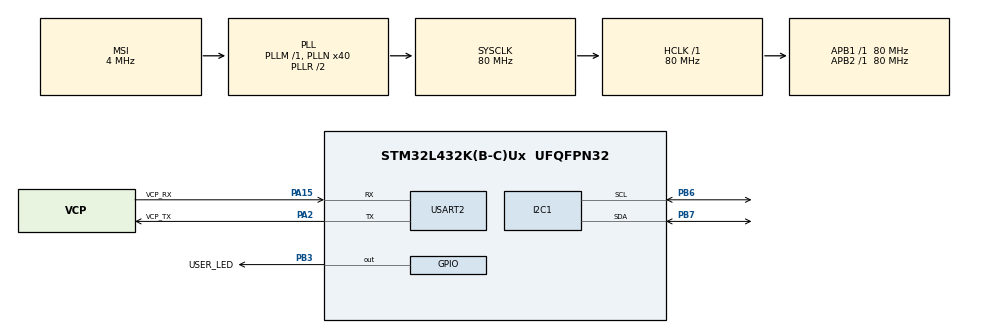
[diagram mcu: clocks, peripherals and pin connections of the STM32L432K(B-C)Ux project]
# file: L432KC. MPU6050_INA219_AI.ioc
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I2C1.Timing=0x10D19CE4
Mcu.Family=STM32L4
Mcu.Name=STM32L432K(B-C)Ux
Mcu.Package=UFQFPN32
NVIC.PriorityGroup=NVIC_PRIORITYGROUP_4
PA0.GPIO_Label=MCO [High speed clock in]
PA0.Mode=HSE-External-Clock-Source-for-LittleOrca
PA0.Signal=RCC_CK_IN
PA13\ (JTMS-SWDIO).GPIO_Label=SWDIO
PA13\ (JTMS-SWDIO).Mode=Serial_Wire
PA13\ (JTMS-SWDIO).Signal=SYS_JTMS-SWDIO
PA14\ (JTCK-SWCLK).GPIO_Label=SWCLK
PA14\ (JTCK-SWCLK).Mode=Serial_Wire
PA14\ (JTCK-SWCLK).Signal=SYS_JTCK-SWCLK
PA15\ (JTDI).GPIO_Label=VCP_RX
PA15\ (JTDI).Mode=Asynchronous
PA15\ (JTDI).Signal=USART2_RX
PA2.GPIO_Label=VCP_TX
PA2.Mode=Asynchronous
PA2.Signal=USART2_TX
PB3\ (JTDO-TRACESWO).GPIO_Label=USER_LED
PB3\ (JTDO-TRACESWO).Signal=GPIO_Output
PB6.Mode=I2C
PB6.Signal=I2C1_SCL
PB7.Mode=I2C
PB7.Signal=I2C1_SDA
PC14-OSC32_IN\ (PC14).Mode=LSE-External-Oscillator
PC14-OSC32_IN\ (PC14).Signal=RCC_OSC32_IN
PC15-OSC32_OUT\ (PC15).Mode=LSE-External-Oscillator
PC15-OSC32_OUT\ (PC15).Signal=RCC_OSC32_OUT
ProjectManager.HeapSize=0x800
ProjectManager.StackSize=0x800
ProjectManager.TargetToolchain=STM32CubeIDE
RCC.AHBFreq_Value=80000000
RCC.APB1Freq_Value=80000000
RCC.APB1TimFreq_Value=80000000
RCC.APB2Freq_Value=80000000
RCC.APB2TimFreq_Value=80000000
RCC.CortexFreq_Value=80000000
RCC.HCLKFreq_Value=80000000
RCC.HSE_VALUE=8000000
RCC.HSI16_VALUE=16000000
RCC.HSI48_VALUE=48000000
RCC.HSI_VALUE=16000000
RCC.MSI_VALUE=4000000
RCC.PLLMUL=RCC_PLLMUL_4
RCC.PLLN=40
RCC.SYSCLKFreq_VALUE=80000000
RCC.SYSCLKSource=RCC_SYSCLKSOURCE_PLLCLK
RCC.VCOOutputFreq_Value=160000000
STMicroelectronics.X-CUBE-AI.10.2.0.ActivationBufferSizeList=2864
STMicroelectronics.X-CUBE-AI.10.2.0.ActivationBuffers=pool0
STMicroelectronics.X-CUBE-AI.10.2.0.ActivationNames=pool0
STMicroelectronics.X-CUBE-AI.10.2.0.ActivationSizes=AI_NETWORK_DATA_ACTIVATION_1_SIZE
STMicroelectronics.X-CUBE-AI.10.2.0.ApplicationCcDeviceJjApplication=ApplicationTemplate
STMicroelectronics.X-CUBE-AI.10.2.0.HeapSize=0x800
STMicroelectronics.X-CUBE-AI.10.2.0.InternalRamActivationBufferMaxSize=AI_NETWORK_DATA_ACTIVATIONS_SIZE
STMicroelectronics.X-CUBE-AI.10.2.0.LatestDirectoryUsed-8948988cd483a5e510699c6f2f5c29ddb332c8d1e6b1ee858876a3a81a83fe3c=C\:\\Users\\MSP\\pwm_control
STMicroelectronics.X-CUBE-AI.10.2.0.MaximumNumberOfInputLayer=1
STMicroelectronics.X-CUBE-AI.10.2.0.MaximumNumberOfOutputLayer=1
STMicroelectronics.X-CUBE-AI.10.2.0.MaximumSizeOfInputLayer=1
STMicroelectronics.X-CUBE-AI.10.2.0.MaximumSizeOfOutputLayer=1
STMicroelectronics.X-CUBE-AI.10.2.0.ModelActualCompression-8948988cd483a5e510699c6f2f5c29ddb332c8d1e6b1ee858876a3a81a83fe3c=0.0
STMicroelectronics.X-CUBE-AI.10.2.0.ModelCompression-8948988cd483a5e510699c6f2f5c29ddb332c8d1e6b1ee858876a3a81a83fe3c=None
STMicroelectronics.X-CUBE-AI.10.2.0.ModelFlashOccupation-8948988cd483a5e510699c6f2f5c29ddb332c8d1e6b1ee858876a3a81a83fe3c=27068
STMicroelectronics.X-CUBE-AI.10.2.0.ModelHashList=8948988cd483a5e510699c6f2f5c29ddb332c8d1e6b1ee858876a3a81a83fe3c
STMicroelectronics.X-CUBE-AI.10.2.0.ModelKind-8948988cd483a5e510699c6f2f5c29ddb332c8d1e6b1ee858876a3a81a83fe3c=TFLITE
STMicroelectronics.X-CUBE-AI.10.2.0.ModelMacc-8948988cd483a5e510699c6f2f5c29ddb332c8d1e6b1ee858876a3a81a83fe3c=4155
STMicroelectronics.X-CUBE-AI.10.2.0.ModelName-8948988cd483a5e510699c6f2f5c29ddb332c8d1e6b1ee858876a3a81a83fe3c=network
STMicroelectronics.X-CUBE-AI.10.2.0.ModelNameList=network
STMicroelectronics.X-CUBE-AI.10.2.0.ModelRamOccupation-8948988cd483a5e510699c6f2f5c29ddb332c8d1e6b1ee858876a3a81a83fe3c=2864
STMicroelectronics.X-CUBE-AI.10.2.0.ModelStructureFile-8948988cd483a5e510699c6f2f5c29ddb332c8d1e6b1ee858876a3a81a83fe3c=C\:\\Users\\MSP\\pwm_control\\motor_anomaly.tflite
STMicroelectronics.X-CUBE-AI.10.2.0.ModelType-8948988cd483a5e510699c6f2f5c29ddb332c8d1e6b1ee858876a3a81a83fe3c=STM32Cube.AI MCU runtime
STMicroelectronics.X-CUBE-AI.10.2.0.ReadyForCodeGeneration=true
STMicroelectronics.X-CUBE-AI.10.2.0.StackSize=0x800
STMicroelectronics.X-CUBE-AI.10.2.0.WorkingBufferStartAddrList=0xFFFFFFFF
STMicroelectronics.X-CUBE-AI.10.2.0.XAaCUBEAaAICcArtificialOoIntelligenceJjCore=true
STMicroelectronics.X-CUBE-AI.10.2.0.copyWeightToRam=false
STMicroelectronics.X-CUBE-AI.10.2.0.customLayerConfigEnabled=false
STMicroelectronics.X-CUBE-AI.10.2.0.noOnnxIoTranspose=false
STMicroelectronics.X-CUBE-AI.10.2.0.useInputAllocation=true
STMicroelectronics.X-CUBE-AI.10.2.0.useOutputAllocation=true
USART2.VirtualMode-Asynchronous=VM_ASYNC
VP_STMicroelectronics.X-CUBE-AI_VS_ArtificialOoIntelligenceJjXAaCUBEAaAI_10.2.0.Mode=ArtificialOoIntelligenceJjXAaCUBEAaAI
VP_STMicroelectronics.X-CUBE-AI_VS_DeviceJjApplication_10.2.0.Mode=DeviceJjApplication
board=NUCLEO-L432KC

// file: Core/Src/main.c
/* USER CODE BEGIN Header */
/**
  ******************************************************************************
  * @file           : main.c
  * @brief          : Main program body
  ******************************************************************************
  * @attention
  *
  * Copyright (c) 2026 STMicroelectronics.
  * All rights reserved.
  *
  * This software is licensed under terms that can be found in the LICENSE file
  * in the root directory of this software component.
  * If no LICENSE file comes with this software, it is provided AS-IS.
  *
  ******************************************************************************
  */
/* USER CODE END Header */
#include "main.h"
#include "app_x-cube-ai.h"

/* USER CODE BEGIN Includes */
#include <stdio.h>
#include <string.h>
#include <math.h>
#include "mpu6050.h"
#include "ina219.h"
#include "app_x-cube-ai.h"
#include "network.h"
#include "network_data.h"

/* USER CODE END Includes */

/* USER CODE BEGIN PD */
#define MODE_COLLECT  0
#define MODE_INFER    1
#define CURRENT_MODE  MODE_COLLECT  // ← 수집할때: MODE_COLLECT / 추론할때: MODE_INFER
/* USER CODE END PD */

I2C_HandleTypeDef hi2c1;

UART_HandleTypeDef huart2;

/* USER CODE BEGIN PV */
MPU6050_t MPU6050_Data;
INA219_t  INA219_Data;

// ── 윈도우 버퍼 ──
#define WINDOW_SIZE  50
#define FEATURE_NUM  21

typedef struct {
    float ax, ay, az;
    float gx, gy, gz;
    float current, voltage, power;
} SensorSample;

SensorSample window_buf[WINDOW_SIZE];
uint16_t window_idx = 0;

// ── Scaler 값 (Python에서 추출) ──
const float SCALER_MEAN[FEATURE_NUM] = {
    2005.842149f, 1065.240787f, 214.114126f,
    11577.090909f, 5699.581818f, 7027.472727f,
    1285.567402f, 21359.667551f,
    200.124709f, 436.414016f, 201.440447f,
    998.200000f, 2458.363636f, 1171.750000f,
    0.169205f, 0.023431f, 0.070600f,
    6.623082f, 0.085506f, 1.121541f, 0.260091f
};

const float SCALER_STD[FEATURE_NUM] = {
    482.364637f, 162.312108f, 214.114126f,
    4186.752281f, 1462.477962f, 1739.716323f,
    221.864917f, 198.976645f,
    26.586816f, 93.917616f, 64.067405f,
    231.108330f, 796.234539f, 547.087617f,
    0.006212f, 0.001946f, 0.005502f,
    0.162638f, 0.002384f, 0.023446f, 0.128041f
};

float g_features[FEATURE_NUM];
float g_output = 0.0f;

/* USER CODE END PV */

void SystemClock_Config(void);
static void MX_GPIO_Init(void);
static void MX_USART2_UART_Init(void);
static void MX_I2C1_Init(void);

/* USER CODE BEGIN 0 */

#include <stdio.h>

int _write(int file, char *ptr, int len)
{
	HAL_UART_Transmit(&huart2, (uint8_t*)ptr, len, HAL_MAX_DELAY);
	return len;
}

// ── Feature 추출 ──
void extract_features(SensorSample *buf, float *features) {
    float ax[WINDOW_SIZE], ay[WINDOW_SIZE], az[WINDOW_SIZE];
    float gx[WINDOW_SIZE], gy[WINDOW_SIZE], gz[WINDOW_SIZE];
    float cur[WINDOW_SIZE], vol[WINDOW_SIZE], pwr[WINDOW_SIZE];
    float mag[WINDOW_SIZE];

    float ax_sum=0, ay_sum=0, az_sum=0;
    float gx_sum=0, gy_sum=0, gz_sum=0;
    float cur_sum=0, vol_sum=0, pwr_sum=0;
    float mag_sum=0;

    float ax_min=1e9f, ax_max=-1e9f;
    float ay_min=1e9f, ay_max=-1e9f;
    float az_min=1e9f, az_max=-1e9f;
    float gx_min=1e9f, gx_max=-1e9f;
    float gy_min=1e9f, gy_max=-1e9f;
    float gz_min=1e9f, gz_max=-1e9f;
    float cur_min=1e9f, cur_max=-1e9f;

    uint16_t cur_over = 0;

    for(int i = 0; i < WINDOW_SIZE; i++) {
        ax[i] = buf[i].ax; ay[i] = buf[i].ay; az[i] = buf[i].az;
        gx[i] = buf[i].gx; gy[i] = buf[i].gy; gz[i] = buf[i].gz;
        cur[i] = buf[i].current; vol[i] = buf[i].voltage; pwr[i] = buf[i].power;
        mag[i] = sqrtf(ax[i]*ax[i] + ay[i]*ay[i] + az[i]*az[i]);

        ax_sum += ax[i]; ay_sum += ay[i]; az_sum += az[i];
        gx_sum += gx[i]; gy_sum += gy[i]; gz_sum += gz[i];
        cur_sum += cur[i]; vol_sum += vol[i]; pwr_sum += pwr[i];
        mag_sum += mag[i];

        if(ax[i] < ax_min) ax_min = ax[i]; if(ax[i] > ax_max) ax_max = ax[i];
        if(ay[i] < ay_min) ay_min = ay[i]; if(ay[i] > ay_max) ay_max = ay[i];
        if(az[i] < az_min) az_min = az[i]; if(az[i] > az_max) az_max = az[i];
        if(gx[i] < gx_min) gx_min = gx[i]; if(gx[i] > gx_max) gx_max = gx[i];
        if(gy[i] < gy_min) gy_min = gy[i]; if(gy[i] > gy_max) gy_max = gy[i];
        if(gz[i] < gz_min) gz_min = gz[i]; if(gz[i] > gz_max) gz_max = gz[i];
        if(cur[i] < cur_min) cur_min = cur[i]; if(cur[i] > cur_max) cur_max = cur[i];

        if(cur[i] >= 0.19f) cur_over++;
    }

    float n = (float)WINDOW_SIZE;

    // STD 계산
    float ax_std=0, ay_std=0, az_std=0;
    float gx_std=0, gy_std=0, gz_std=0;
    float cur_std=0, vol_std=0, mag_std=0;

    float ax_m=ax_sum/n, ay_m=ay_sum/n, az_m=az_sum/n;
    float gx_m=gx_sum/n, gy_m=gy_sum/n, gz_m=gz_sum/n;
    float cur_m=cur_sum/n, vol_m=vol_sum/n;
    float mag_m=mag_sum/n;

    for(int i = 0; i < WINDOW_SIZE; i++) {
        ax_std  += (ax[i]-ax_m)*(ax[i]-ax_m);
        ay_std  += (ay[i]-ay_m)*(ay[i]-ay_m);
        az_std  += (az[i]-az_m)*(az[i]-az_m);
        gx_std  += (gx[i]-gx_m)*(gx[i]-gx_m);
        gy_std  += (gy[i]-gy_m)*(gy[i]-gy_m);
        gz_std  += (gz[i]-gz_m)*(gz[i]-gz_m);
        cur_std += (cur[i]-cur_m)*(cur[i]-cur_m);
        vol_std += (vol[i]-vol_m)*(vol[i]-vol_m);
        mag_std += (mag[i]-mag_m)*(mag[i]-mag_m);
    }

    ax_std  = sqrtf(ax_std/n);  ay_std  = sqrtf(ay_std/n);
    az_std  = sqrtf(az_std/n);  gx_std  = sqrtf(gx_std/n);
    gy_std  = sqrtf(gy_std/n);  gz_std  = sqrtf(gz_std/n);
    cur_std = sqrtf(cur_std/n); vol_std = sqrtf(vol_std/n);
    mag_std = sqrtf(mag_std/n);

    // Feature 배열 (Python 순서와 동일!)
    features[0]  = ax_std;
    features[1]  = ay_std;
    features[2]  = az_std;
    features[3]  = ax_max - ax_min;   // ax_p2p
    features[4]  = ay_max - ay_min;   // ay_p2p
    features[5]  = az_max - az_min;   // az_p2p
    features[6]  = mag_std;
    features[7]  = mag_m;
    features[8]  = gx_std;
    features[9]  = gy_std;
    features[10] = gz_std;
    features[11] = gx_max - gx_min;   // gx_p2p
    features[12] = gy_max - gy_min;   // gy_p2p
    features[13] = gz_max - gz_min;   // gz_p2p
    features[14] = cur_m;
    features[15] = cur_std;
    features[16] = cur_max - cur_min; // current_p2p
    features[17] = vol_m;
    features[18] = vol_std;
    features[19] = pwr_sum / n;       // power_mean
    features[20] = (float)cur_over / n; // current_over_019
}

// ── 정규화 ──
void normalize(float *features) {
    for(int i = 0; i < FEATURE_NUM; i++) {
        features[i] = (features[i] - SCALER_MEAN[i]) / SCALER_STD[i];
    }
}
/* USER CODE END 0 */

int main(void)
{

  /* MCU Configuration--------------------------------------------------------*/

  /* Reset of all peripherals, Initializes the Flash interface and the Systick. */
  HAL_Init();

  /* Configure the system clock */
  SystemClock_Config();

  /* Initialize all configured peripherals */
  MX_GPIO_Init();
  MX_USART2_UART_Init();
  MX_I2C1_Init();
  MX_X_CUBE_AI_Init();
  /* USER CODE BEGIN 2 */

  printf("=== Motor Anomaly Detection ===\r\n");

  if(MPU6050_Init(&hi2c1)) printf("MPU6050: OK\r\n");
  if(INA219_Init(&hi2c1))  printf("INA219:  OK\r\n");

#if CURRENT_MODE == MODE_COLLECT
  printf("Mode: DATA COLLECT\r\n");
  printf("time_s,ax,ay,az,gx,gy,gz,current,voltage,power\r\n");  // CSV 헤더!
#else
  printf("Mode: AI INFER\r\n");
  printf("AI Model: OK\r\n");
#endif

//  printf("=== Motor Monitoring System ===\r\n");
//
//  if(MPU6050_Init(&hi2c1)) printf("MPU6050: OK\r\n");
//  if(INA219_Init(&hi2c1))  printf("INA219:  OK\r\n");
//
//  printf("ax,ay,az,gx,gy,gz,current,voltage,power\r\n");

//  HAL_GPIO_WritePin(GPIOB, GPIO_PIN_3, GPIO_PIN_SET);
//
//  printf("STM32 L432KC Started!\r\n");

//  printf("\r\n=== L432KC + MPU6050 Test ===\r\n");
//
//  // MPU6050 초기화
//  if(MPU6050_Init(&hi2c1)) {
//      printf("MPU6050 Ready!\r\n\r\n");
//  } else {
//      printf("MPU6050 Init Failed!\r\n");
//      Error_Handler();
//  }

  /* USER CODE END 2 */

  /* Infinite loop */
  while (1)
  {

	  /* USER CODE BEGIN 3 */

	  MPU6050_Read_All(&hi2c1, &MPU6050_Data);
	  INA219_Read_All(&hi2c1, &INA219_Data);

#if CURRENT_MODE == MODE_COLLECT
	  printf("%.3f,%d,%d,%d,%d,%d,%d,%.3f,%.2f,%.2f\r\n",
			  HAL_GetTick() / 1000.0f,
			  MPU6050_Data.Accel_X_RAW,
			  MPU6050_Data.Accel_Y_RAW,
			  MPU6050_Data.Accel_Z_RAW,
			  MPU6050_Data.Gyro_X_RAW,
			  MPU6050_Data.Gyro_Y_RAW,
			  MPU6050_Data.Gyro_Z_RAW,
			  INA219_Data.current,
			  INA219_Data.voltage,
			  INA219_Data.power);

#else
	  window_buf[window_idx % WINDOW_SIZE].ax      = (float)MPU6050_Data.Accel_X_RAW;
	  window_buf[window_idx % WINDOW_SIZE].ay      = (float)MPU6050_Data.Accel_Y_RAW;
	  window_buf[window_idx % WINDOW_SIZE].az      = (float)MPU6050_Data.Accel_Z_RAW;
	  window_buf[window_idx % WINDOW_SIZE].gx      = (float)MPU6050_Data.Gyro_X_RAW;
	  window_buf[window_idx % WINDOW_SIZE].gy      = (float)MPU6050_Data.Gyro_Y_RAW;
	  window_buf[window_idx % WINDOW_SIZE].gz      = (float)MPU6050_Data.Gyro_Z_RAW;
	  window_buf[window_idx % WINDOW_SIZE].current = INA219_Data.current;
	  window_buf[window_idx % WINDOW_SIZE].voltage = INA219_Data.voltage;
	  window_buf[window_idx % WINDOW_SIZE].power   = INA219_Data.power;
	  window_idx++;

	  if(window_idx >= WINDOW_SIZE && window_idx % 10 == 0) {
		  extract_features(window_buf, g_features);
		  normalize(g_features);
		  MX_X_CUBE_AI_Process();

		  static uint8_t defect_count = 0;
		  static uint8_t vote_total   = 0;
		  vote_total++;
		  if(g_output > 0.5f) defect_count++;
		  printf("[%d/%d] score: %.4f\r\n", defect_count, vote_total, g_output);
		  if(vote_total >= 5) {
			  if(defect_count >= 3)
				  printf("=== [DEFECT DETECTED] %d/5 ===\r\n", defect_count);
			  else
				  printf("=== [NORMAL] %d/5 ===\r\n", defect_count);
			  defect_count = 0;
			  vote_total   = 0;
		  }
	  }
#endif

	  HAL_Delay(100);
  }

  /* USER CODE END 3 */
}

void SystemClock_Config(void)
{
  RCC_OscInitTypeDef RCC_OscInitStruct = {0};
  RCC_ClkInitTypeDef RCC_ClkInitStruct = {0};

  /** Configure the main internal regulator output voltage
  */
  if (HAL_PWREx_ControlVoltageScaling(PWR_REGULATOR_VOLTAGE_SCALE1) != HAL_OK)
  {
    Error_Handler();
  }

  /** Configure LSE Drive Capability
  */
  HAL_PWR_EnableBkUpAccess();
  __HAL_RCC_LSEDRIVE_CONFIG(RCC_LSEDRIVE_LOW);

  /** Initializes the RCC Oscillators according to the specified parameters
  * in the RCC_OscInitTypeDef structure.
  */
  RCC_OscInitStruct.OscillatorType = RCC_OSCILLATORTYPE_LSE|RCC_OSCILLATORTYPE_MSI;
  RCC_OscInitStruct.LSEState = RCC_LSE_ON;
  RCC_OscInitStruct.MSIState = RCC_MSI_ON;
  RCC_OscInitStruct.MSICalibrationValue = 0;
  RCC_OscInitStruct.MSIClockRange = RCC_MSIRANGE_6;
  RCC_OscInitStruct.PLL.PLLState = RCC_PLL_ON;
  RCC_OscInitStruct.PLL.PLLSource = RCC_PLLSOURCE_MSI;
  RCC_OscInitStruct.PLL.PLLM = 1;
  RCC_OscInitStruct.PLL.PLLN = 40;
  RCC_OscInitStruct.PLL.PLLP = RCC_PLLP_DIV7;
  RCC_OscInitStruct.PLL.PLLQ = RCC_PLLQ_DIV2;
  RCC_OscInitStruct.PLL.PLLR = RCC_PLLR_DIV2;
  if (HAL_RCC_OscConfig(&RCC_OscInitStruct) != HAL_OK)
  {
    Error_Handler();
  }

  /** Initializes the CPU, AHB and APB buses clocks
  */
  RCC_ClkInitStruct.ClockType = RCC_CLOCKTYPE_HCLK|RCC_CLOCKTYPE_SYSCLK
                              |RCC_CLOCKTYPE_PCLK1|RCC_CLOCKTYPE_PCLK2;
  RCC_ClkInitStruct.SYSCLKSource = RCC_SYSCLKSOURCE_PLLCLK;
  RCC_ClkInitStruct.AHBCLKDivider = RCC_SYSCLK_DIV1;
  RCC_ClkInitStruct.APB1CLKDivider = RCC_HCLK_DIV1;
  RCC_ClkInitStruct.APB2CLKDivider = RCC_HCLK_DIV1;

  if (HAL_RCC_ClockConfig(&RCC_ClkInitStruct, FLASH_LATENCY_4) != HAL_OK)
  {
    Error_Handler();
  }

  /** Enable MSI Auto calibration
  */
  HAL_RCCEx_EnableMSIPLLMode();
}

static void MX_I2C1_Init(void)
{

  hi2c1.Instance = I2C1;
  hi2c1.Init.Timing = 0x10D19CE4;
  hi2c1.Init.OwnAddress1 = 0;
  hi2c1.Init.AddressingMode = I2C_ADDRESSINGMODE_7BIT;
  hi2c1.Init.DualAddressMode = I2C_DUALADDRESS_DISABLE;
  hi2c1.Init.OwnAddress2 = 0;
  hi2c1.Init.OwnAddress2Masks = I2C_OA2_NOMASK;
  hi2c1.Init.GeneralCallMode = I2C_GENERALCALL_DISABLE;
  hi2c1.Init.NoStretchMode = I2C_NOSTRETCH_DISABLE;
  if (HAL_I2C_Init(&hi2c1) != HAL_OK)
  {
    Error_Handler();
  }

  /** Configure Analogue filter
  */
  if (HAL_I2CEx_ConfigAnalogFilter(&hi2c1, I2C_ANALOGFILTER_ENABLE) != HAL_OK)
  {
    Error_Handler();
  }

  /** Configure Digital filter
  */
  if (HAL_I2CEx_ConfigDigitalFilter(&hi2c1, 0) != HAL_OK)
  {
    Error_Handler();
  }

}

static void MX_USART2_UART_Init(void)
{

  huart2.Instance = USART2;
  huart2.Init.BaudRate = 115200;
  huart2.Init.WordLength = UART_WORDLENGTH_8B;
  huart2.Init.StopBits = UART_STOPBITS_1;
  huart2.Init.Parity = UART_PARITY_NONE;
  huart2.Init.Mode = UART_MODE_TX_RX;
  huart2.Init.HwFlowCtl = UART_HWCONTROL_NONE;
  huart2.Init.OverSampling = UART_OVERSAMPLING_16;
  huart2.Init.OneBitSampling = UART_ONE_BIT_SAMPLE_DISABLE;
  huart2.AdvancedInit.AdvFeatureInit = UART_ADVFEATURE_NO_INIT;
  if (HAL_UART_Init(&huart2) != HAL_OK)
  {
    Error_Handler();
  }

}

static void MX_GPIO_Init(void)
{
  GPIO_InitTypeDef GPIO_InitStruct = {0};

  /* GPIO Ports Clock Enable */
  __HAL_RCC_GPIOC_CLK_ENABLE();
  __HAL_RCC_GPIOA_CLK_ENABLE();
  __HAL_RCC_GPIOB_CLK_ENABLE();

  /*Configure GPIO pin Output Level */
  HAL_GPIO_WritePin(USER_LED_GPIO_Port, USER_LED_Pin, GPIO_PIN_RESET);

  /*Configure GPIO pin : USER_LED_Pin */
  GPIO_InitStruct.Pin = USER_LED_Pin;
  GPIO_InitStruct.Mode = GPIO_MODE_OUTPUT_PP;
  GPIO_InitStruct.Pull = GPIO_NOPULL;
  GPIO_InitStruct.Speed = GPIO_SPEED_FREQ_LOW;
  HAL_GPIO_Init(USER_LED_GPIO_Port, &GPIO_InitStruct);

}

void Error_Handler(void)
{
  __disable_irq();
  while (1)
  {
  }
}
